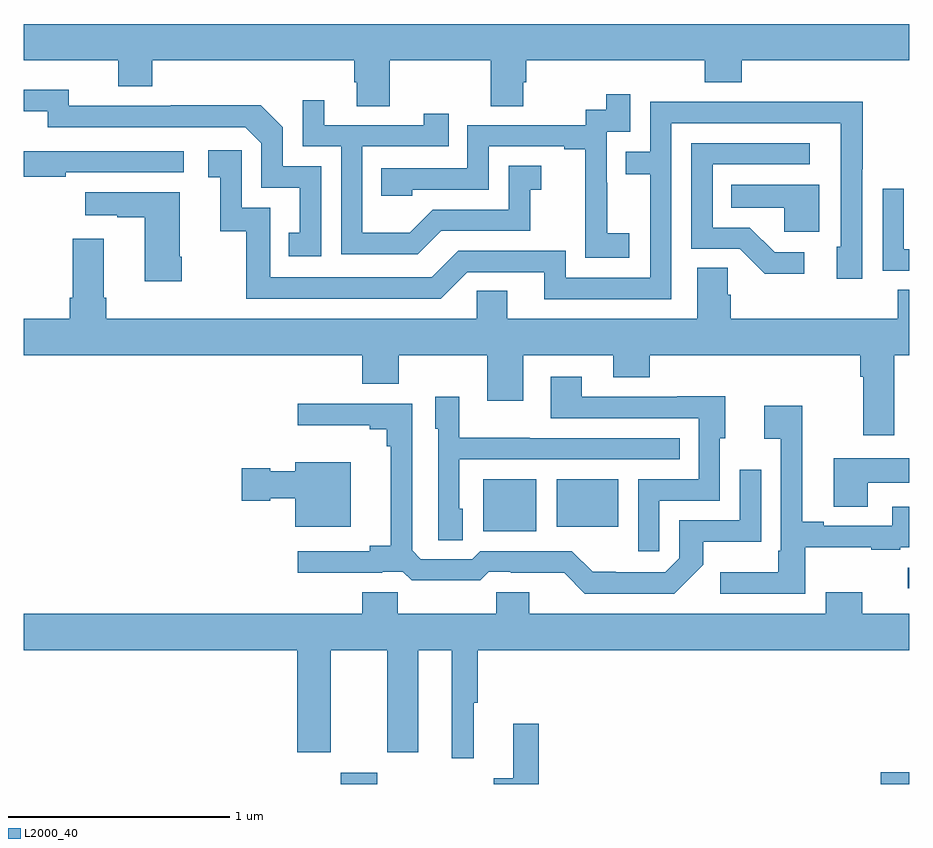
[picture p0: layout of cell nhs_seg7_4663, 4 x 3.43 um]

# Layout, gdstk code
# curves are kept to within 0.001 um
import gdstk
lib = gdstk.Library(unit=1e-6, precision=1e-09)
def R(c, l, rs):  # rectangles x0, y0, x1, y1
    for r in rs: c.add(gdstk.rectangle(r[:2], r[2:], *l))
def P(c, l, *ps):  # polygons
    for p in ps: c.add(gdstk.Polygon(p, *l))
L2000_40 = (2000, 40)

nhs_seg7_4663 = lib.new_cell('nhs_seg7_4663')
R(nhs_seg7_4663, L2000_40, [(406.433,1012,406.597,1012.051), (408.87,1012,409,1012.052), (408.993,1012.883,409,1012.977), (407.075,1013.141,407.314,1013.377), (407.408,1013.162,407.686,1013.377)])
P(nhs_seg7_4663, L2000_40, [(406.653,1015.268),(407.11,1015.268),(407.11,1015.06),(407.257,1015.06),(407.257,1015.17),(407.27,1015.17),(407.27,1015.268),(408.077,1015.268),(408.077,1015.169),(408.242,1015.169),(408.242,1015.268),(409,1015.268),(409,1015.432),(405,1015.432),(405,1015.268),(405.428,1015.268),(405.428,1015.151),(405.581,1015.151),(405.581,1015.268),(406.493,1015.268),(406.493,1015.17),(406.505,1015.17),(406.505,1015.06),(406.653,1015.06)],
  [(406.344,1014.789),(406.17,1014.789),(406.17,1014.966),(406.072,1015.064),(405.664,1015.064),(405.664,1015.062),(405.204,1015.062),(405.204,1015.135),(405,1015.135),(405,1015.038),(405.108,1015.038),(405.108,1014.966),(406.002,1014.966),(406.074,1014.894),(406.074,1014.693),(406.247,1014.693),(406.247,1014.489),(406.198,1014.489),(406.198,1014.384),(406.344,1014.384)],
  [(407.734,1014.487),(407.636,1014.487),(407.636,1014.716),(407.634,1014.716),(407.634,1014.945),(407.739,1014.945),(407.739,1015.114),(407.631,1015.114),(407.631,1015.044),(407.538,1015.044),(407.538,1014.975),(407.004,1014.975),(407.004,1014.78),(406.615,1014.78),(406.615,1014.657),(406.755,1014.657),(406.755,1014.684),(407.1,1014.684),(407.1,1014.879),(407.441,1014.879),(407.441,1014.867),(407.537,1014.867),(407.537,1014.583),(407.536,1014.583),(407.536,1014.377),(407.734,1014.377)],
  [(406.885,1014.498),(407.289,1014.498),(407.289,1014.683),(407.338,1014.683),(407.338,1014.793),(407.19,1014.793),(407.19,1014.594),(406.848,1014.594),(406.744,1014.49),(406.53,1014.49),(406.53,1014.879),(406.919,1014.879),(406.919,1015.027),(406.808,1015.027),(406.808,1014.975),(406.357,1014.975),(406.357,1015.087),(406.26,1015.087),(406.26,1014.879),(406.434,1014.879),(406.434,1014.393),(406.78,1014.393)],
  [(407.925,1014.984),(408.689,1014.984),(408.69,1014.426),(408.671,1014.426),(408.671,1014.282),(408.786,1014.282),(408.786,1014.775),(408.789,1014.775),(408.789,1015.082),(408.325,1015.082),(408.325,1015.08),(407.829,1015.08),(407.829,1014.855),(407.719,1014.855),(407.719,1014.754),(407.829,1014.754),(407.829,1014.285),(407.448,1014.285),(407.448,1014.408),(406.962,1014.408),(406.842,1014.288),(406.113,1014.288),(406.113,1014.603),(405.984,1014.603),(405.984,1014.862),(405.834,1014.862),(405.834,1014.741),(405.887,1014.741),(405.887,1014.495),(406.005,1014.495),(406.005,1014.192),(406.884,1014.192),(407.004,1014.312),(407.351,1014.312),(407.351,1014.189),(407.925,1014.189)],
  [(408.526,1014.402),(408.391,1014.402),(408.28,1014.513),(408.111,1014.513),(408.111,1014.798),(408.55,1014.798),(408.55,1014.894),(408.015,1014.894),(408.015,1014.417),(408.234,1014.417),(408.347,1014.305),(408.526,1014.305)],
  [(405.191,1014.762),(405.724,1014.762),(405.724,1014.858),(405,1014.858),(405,1014.742),(405.191,1014.742)],
  [(408.592,1014.706),(408.196,1014.706),(408.196,1014.602),(408.435,1014.602),(408.435,1014.494),(408.592,1014.494)],
  [(409,1014.414),(408.975,1014.414),(408.975,1014.688),(408.879,1014.688),(408.879,1014.318),(409,1014.318)],
  [(405.714,1014.382),(405.706,1014.382),(405.706,1014.673),(405.279,1014.673),(405.279,1014.569),(405.422,1014.569),(405.422,1014.559),(405.548,1014.559),(405.548,1014.27),(405.714,1014.27)],
  [(408.931,1013.936),(409,1013.936),(409,1014.233),(408.947,1014.233),(408.947,1014.1),(408.194,1014.1),(408.194,1014.209),(408.18,1014.209),(408.18,1014.332),(408.041,1014.332),(408.041,1014.1),(407.185,1014.1),(407.185,1014.227),(407.046,1014.227),(407.046,1014.1),(405.374,1014.1),(405.374,1014.196),(405.361,1014.196),(405.361,1014.463),(405.221,1014.463),(405.221,1014.196),(405.209,1014.196),(405.209,1014.1),(405,1014.1),(405,1013.936),(406.529,1013.936),(406.529,1013.808),(406.693,1013.808),(406.693,1013.936),(407.093,1013.936),(407.093,1013.73),(407.257,1013.73),(407.257,1013.936),(407.663,1013.936),(407.663,1013.837),(407.827,1013.837),(407.827,1013.936),(408.779,1013.936),(408.779,1013.84),(408.791,1013.84),(408.791,1013.574),(408.931,1013.574)],
  [(407.871,1013.28),(408.144,1013.28),(408.144,1013.562),(408.169,1013.562),(408.169,1013.75),(407.951,1013.75),(407.951,1013.748),(407.521,1013.748),(407.521,1013.839),(407.381,1013.839),(407.381,1013.652),(408.048,1013.652),(408.048,1013.376),(407.775,1013.376),(407.775,1013.052),(407.871,1013.052)],
  [(406.984,1013.244),(406.968,1013.244),(406.968,1013.466),(407.963,1013.466),(407.963,1013.562),(407.285,1013.562),(407.285,1013.563),(406.968,1013.563),(406.968,1013.749),(406.859,1013.749),(406.859,1013.604),(406.872,1013.604),(406.872,1013.101),(406.984,1013.101)],
  [(408.069,1012.991),(408.069,1013.093),(408.33,1013.093),(408.33,1013.419),(408.234,1013.419),(408.234,1013.19),(407.961,1013.19),(407.961,1013.019),(407.898,1012.956),(407.674,1012.956),(407.674,1012.958),(407.57,1012.958),(407.475,1013.052),(407.061,1013.052),(407.025,1013.016),(406.794,1013.016),(406.755,1013.055),(406.755,1013.718),(406.239,1013.718),(406.239,1013.621),(406.562,1013.621),(406.562,1013.602),(406.639,1013.602),(406.639,1013.525),(406.658,1013.525),(406.658,1013.075),(406.562,1013.075),(406.562,1013.052),(406.239,1013.052),(406.239,1012.955),(406.619,1012.955),(406.619,1012.959),(406.713,1012.959),(406.753,1012.92),(407.061,1012.92),(407.1,1012.959),(407.2,1012.959),(407.2,1012.955),(407.441,1012.955),(407.535,1012.86),(407.938,1012.86)],
  [(408.529,1013.069),(408.827,1013.069),(408.827,1013.058),(408.959,1013.058),(408.959,1013.07),(409,1013.07),(409,1013.251),(408.923,1013.251),(408.923,1013.166),(408.613,1013.166),(408.613,1013.185),(408.517,1013.185),(408.517,1013.707),(408.345,1013.707),(408.345,1013.558),(408.42,1013.558),(408.42,1013.053),(408.408,1013.053),(408.408,1012.957),(408.147,1012.957),(408.147,1012.86),(408.529,1012.86)],
  [(408.811,1013.36),(409,1013.36),(409,1013.47),(408.659,1013.47),(408.659,1013.251),(408.811,1013.251)],
  [(406.477,1013.452),(406.226,1013.452),(406.226,1013.413),(406.113,1013.413),(406.113,1013.426),(405.984,1013.426),(405.984,1013.279),(406.113,1013.279),(406.113,1013.291),(406.226,1013.291),(406.226,1013.162),(406.477,1013.162)],
  [(407.033,1012.368),(407.051,1012.368),(407.051,1012.604),(409,1012.604),(409,1012.768),(408.787,1012.768),(408.787,1012.867),(408.623,1012.867),(408.623,1012.768),(407.284,1012.768),(407.284,1012.866),(407.134,1012.866),(407.134,1012.768),(406.689,1012.768),(406.689,1012.866),(406.529,1012.866),(406.529,1012.768),(405,1012.768),(405,1012.604),(406.235,1012.604),(406.235,1012.143),(406.387,1012.143),(406.387,1012.604),(406.643,1012.604),(406.643,1012.143),(406.783,1012.143),(406.783,1012.604),(406.934,1012.604),(406.934,1012.116),(407.033,1012.116)],
  [(407.327,1012.273),(407.21,1012.273),(407.21,1012.025),(407.124,1012.025),(407.124,1012),(407.327,1012)])

lib.write_gds('nhs_seg7_4663.gds')
